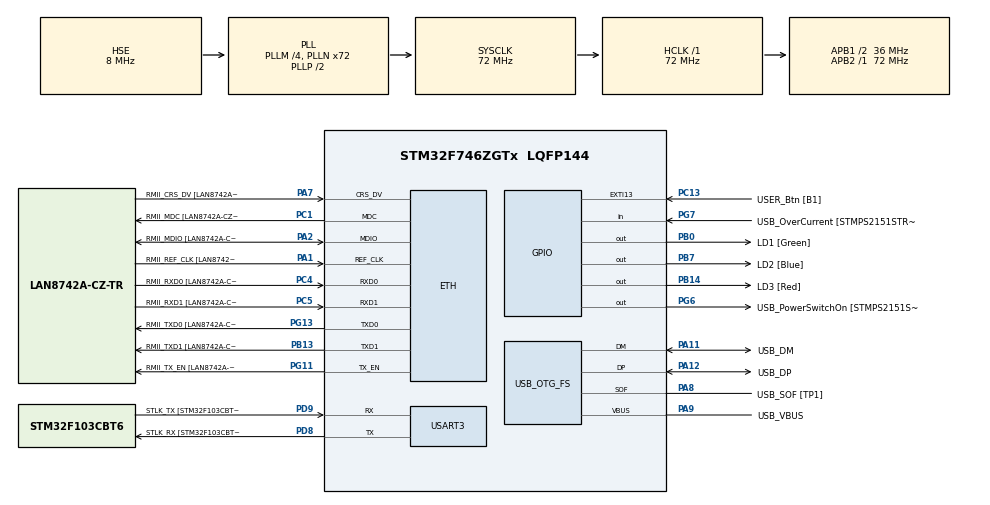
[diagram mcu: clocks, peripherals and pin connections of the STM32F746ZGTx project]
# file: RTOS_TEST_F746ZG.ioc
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ETH.MediaInterface=ETH_MEDIA_INTERFACE_RMII
ETH.PHY_Name=LAN8742A_PHY_ADDRESS
ETH.PHY_Value=0
ETH.PhyAddress=0
FREERTOS.Mutexes01=mutex01,Dynamic,NULL
FREERTOS.Queues01=queue01,1,uint16_t,0,Dynamic,NULL,NULL
FREERTOS.Tasks01=ledblink01,24,1024,StartBlink01,Default,NULL,Dynamic,NULL,NULL;ledblink02,24,1024,StartBlink02,Default,NULL,Dynamic,NULL,NULL;ledblink03,24,1024,StartBlink03,Default,NULL,Dynamic,NULL,NULL
Mcu.Family=STM32F7
Mcu.Name=STM32F746ZGTx
Mcu.Package=LQFP144
NVIC.PriorityGroup=NVIC_PRIORITYGROUP_4
NVIC.TIM6_DAC_IRQn=true\:0\:0\:false\:false\:true\:false\:false\:true
NVIC.TimeBase=TIM6_DAC_IRQn
NVIC.TimeBaseIP=TIM6
PA1.GPIO_Label=RMII_REF_CLK [LAN8742A-CZ-TR_REFCLK0]
PA1.Mode=RMII
PA1.Signal=ETH_REF_CLK
PA10.GPIO_Label=USB_ID
PA10.Signal=USB_OTG_FS_ID
PA11.GPIO_Label=USB_DM
PA11.Mode=Device_Only
PA11.Signal=USB_OTG_FS_DM
PA12.GPIO_Label=USB_DP
PA12.Mode=Device_Only
PA12.Signal=USB_OTG_FS_DP
PA13.GPIO_Label=TMS
PA13.Mode=Serial_Wire
PA13.Signal=SYS_JTMS-SWDIO
PA14.GPIO_Label=TCK
PA14.Mode=Serial_Wire
PA14.Signal=SYS_JTCK-SWCLK
PA2.GPIO_Label=RMII_MDIO [LAN8742A-CZ-TR_MDIO]
PA2.Mode=RMII
PA2.Signal=ETH_MDIO
PA7.GPIO_Label=RMII_CRS_DV [LAN8742A-CZ-TR_CRS_DV]
PA7.Mode=RMII
PA7.Signal=ETH_CRS_DV
PA8.GPIO_Label=USB_SOF [TP1]
PA8.Mode=Activate_SOF_FS
PA8.Signal=USB_OTG_FS_SOF
PA9.GPIO_Label=USB_VBUS
PA9.Mode=Activate_VBUS
PA9.Signal=USB_OTG_FS_VBUS
PB0.GPIO_Label=LD1 [Green]
PB0.Signal=GPIO_Output
PB13.GPIO_Label=RMII_TXD1 [LAN8742A-CZ-TR_TXD1]
PB13.Mode=RMII
PB13.Signal=ETH_TXD1
PB14.GPIO_Label=LD3 [Red]
PB14.Signal=GPIO_Output
PB3.GPIO_Label=SW0
PB3.Signal=SYS_JTDO-SWO
PB7.GPIO_Label=LD2 [Blue]
PB7.Signal=GPIO_Output
PC1.GPIO_Label=RMII_MDC [LAN8742A-CZ-TR_MDC]
PC1.Mode=RMII
PC1.Signal=ETH_MDC
PC13.GPIO_Label=USER_Btn [B1]
PC13.Signal=GPXTI13
PC14/OSC32_IN.Mode=LSE-External-Oscillator
PC14/OSC32_IN.Signal=RCC_OSC32_IN
PC15/OSC32_OUT.Mode=LSE-External-Oscillator
PC15/OSC32_OUT.Signal=RCC_OSC32_OUT
PC4.GPIO_Label=RMII_RXD0 [LAN8742A-CZ-TR_RXD0]
PC4.Mode=RMII
PC4.Signal=ETH_RXD0
PC5.GPIO_Label=RMII_RXD1 [LAN8742A-CZ-TR_RXD1]
PC5.Mode=RMII
PC5.Signal=ETH_RXD1
PD8.GPIO_Label=STLK_RX [STM32F103CBT6_PA3]
PD8.Mode=Asynchronous
PD8.Signal=USART3_TX
PD9.GPIO_Label=STLK_TX [STM32F103CBT6_PA2]
PD9.Mode=Asynchronous
PD9.Signal=USART3_RX
PG11.GPIO_Label=RMII_TX_EN [LAN8742A-CZ-TR_TXEN]
PG11.Mode=RMII
PG11.Signal=ETH_TX_EN
PG13.GPIO_Label=RMII_TXD0 [LAN8742A-CZ-TR_TXD0]
PG13.Mode=RMII
PG13.Signal=ETH_TXD0
PG6.GPIO_Label=USB_PowerSwitchOn [STMPS2151STR_EN]
PG6.Signal=GPIO_Output
PG7.GPIO_Label=USB_OverCurrent [STMPS2151STR_FAULT]
PG7.Signal=GPIO_Input
PH0/OSC_IN.GPIO_Label=MCO [STM32F103CBT6_PA8]
PH0/OSC_IN.Mode=HSE-External-Clock-Source
PH0/OSC_IN.Signal=RCC_OSC_IN
PH1/OSC_OUT.Mode=HSE-External-Clock-Source
PH1/OSC_OUT.Signal=RCC_OSC_OUT
ProjectManager.HeapSize=0x200
ProjectManager.StackSize=0x400
ProjectManager.TargetToolchain=STM32CubeIDE
RCC.48MHZClocksFreq_Value=24000000
RCC.AHBFreq_Value=72000000
RCC.APB1CLKDivider=RCC_HCLK_DIV2
RCC.APB1Freq_Value=36000000
RCC.APB1TimFreq_Value=72000000
RCC.APB2Freq_Value=72000000
RCC.APB2TimFreq_Value=72000000
RCC.CortexFreq_Value=72000000
RCC.HCLKFreq_Value=72000000
RCC.HSE_VALUE=8000000
RCC.HSI_VALUE=16000000
RCC.PLLM=4
RCC.PLLMUL=RCC_PLL_MUL9
RCC.PLLN=72
RCC.PLLQ=3
RCC.PRESCALERUSB=RCC_USBCLKSOURCE_PLL_DIV1_5
RCC.SYSCLKFreq_VALUE=72000000
RCC.SYSCLKSource=RCC_SYSCLKSOURCE_PLLCLK
RCC.SYSCLKSourceVirtual=RCC_SYSCLKSOURCE_PLLCLK
RCC.USBFreq_Value=48000000
RCC.VCOOutputFreq_Value=144000000
USART3.VirtualMode-Asynchronous=VM_ASYNC
USB_OTG_FS.VirtualMode=Device_Only
VP_FREERTOS_VS_CMSIS_V2.Mode=CMSIS_V2
VP_SYS_VS_tim6.Mode=TIM6
board=NUCLEO-F746ZG

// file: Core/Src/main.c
/* USER CODE BEGIN Header */
/**
  ******************************************************************************
  * @file           : main.c
  * @brief          : Main program body
  ******************************************************************************
  * @attention
  *
  * <h2><center>&copy; Copyright (c) 2020 STMicroelectronics.
  * All rights reserved.</center></h2>
  *
  * This software component is licensed by ST under BSD 3-Clause license,
  * the "License"; You may not use this file except in compliance with the
  * License. You may obtain a copy of the License at:
  *                        opensource.org/licenses/BSD-3-Clause
  *
  ******************************************************************************
  */
/* USER CODE END Header */

#include "main.h"
#include "cmsis_os.h"

ETH_HandleTypeDef heth;

UART_HandleTypeDef huart3;

PCD_HandleTypeDef hpcd_USB_OTG_FS;

osThreadId_t ledblink01Handle;
osThreadId_t ledblink02Handle;
osThreadId_t ledblink03Handle;
osMessageQueueId_t queue01Handle;
osMutexId_t mutex01Handle;
/* USER CODE BEGIN PV */
// used to detect and latch errors */
__IO uint32_t HighPriorityThreadCycles = 0, MediumPriorityThreadCycles = 0, LowPriorityThreadCycles = 0;
/* USER CODE END PV */

void SystemClock_Config(void);
static void MX_GPIO_Init(void);
static void MX_ETH_Init(void);
static void MX_USART3_UART_Init(void);
static void MX_USB_OTG_FS_PCD_Init(void);
void StartBlink01(void *argument);
void StartBlink02(void *argument);
void StartBlink03(void *argument);

int main(void)
{

  /* MCU Configuration--------------------------------------------------------*/

  /* Reset of all peripherals, Initializes the Flash interface and the Systick. */
  HAL_Init();

  /* Configure the system clock */
  SystemClock_Config();

  /* Initialize all configured peripherals */
  MX_GPIO_Init();
  MX_ETH_Init();
  MX_USART3_UART_Init();
  MX_USB_OTG_FS_PCD_Init();

  osKernelInitialize();

  /* Create the mutex(es) */
  /* definition and creation of mutex01 */
  const osMutexAttr_t mutex01_attributes = {
    .name = "mutex01"
  };
  mutex01Handle = osMutexNew(&mutex01_attributes);

  /* Create the queue(s) */
  /* definition and creation of queue01 */
  const osMessageQueueAttr_t queue01_attributes = {
    .name = "queue01"
  };
  queue01Handle = osMessageQueueNew (1, sizeof(uint16_t), &queue01_attributes);

  /* Create the thread(s) */
  /* definition and creation of ledblink01 */
  const osThreadAttr_t ledblink01_attributes = {
    .name = "ledblink01",
    .priority = (osPriority_t) osPriorityNormal,
    .stack_size = 1024
  };
  ledblink01Handle = osThreadNew(StartBlink01, NULL, &ledblink01_attributes);

  /* definition and creation of ledblink02 */
  const osThreadAttr_t ledblink02_attributes = {
    .name = "ledblink02",
    .priority = (osPriority_t) osPriorityNormal,
    .stack_size = 1024
  };
  ledblink02Handle = osThreadNew(StartBlink02, NULL, &ledblink02_attributes);

  /* definition and creation of ledblink03 */
  const osThreadAttr_t ledblink03_attributes = {
    .name = "ledblink03",
    .priority = (osPriority_t) osPriorityNormal,
    .stack_size = 1024
  };
  ledblink03Handle = osThreadNew(StartBlink03, NULL, &ledblink03_attributes);

  /* Start scheduler */
  osKernelStart();

  /* We should never get here as control is now taken by the scheduler */

  /* Infinite loop */
  while (1)
  {

  }
}

void SystemClock_Config(void)
{
  RCC_OscInitTypeDef RCC_OscInitStruct = {0};
  RCC_ClkInitTypeDef RCC_ClkInitStruct = {0};
  RCC_PeriphCLKInitTypeDef PeriphClkInitStruct = {0};

  /** Configure LSE Drive Capability
  */
  HAL_PWR_EnableBkUpAccess();
  /** Configure the main internal regulator output voltage
  */
  __HAL_RCC_PWR_CLK_ENABLE();
  __HAL_PWR_VOLTAGESCALING_CONFIG(PWR_REGULATOR_VOLTAGE_SCALE3);
  /** Initializes the CPU, AHB and APB busses clocks
  */
  RCC_OscInitStruct.OscillatorType = RCC_OSCILLATORTYPE_HSE;
  RCC_OscInitStruct.HSEState = RCC_HSE_BYPASS;
  RCC_OscInitStruct.PLL.PLLState = RCC_PLL_ON;
  RCC_OscInitStruct.PLL.PLLSource = RCC_PLLSOURCE_HSE;
  RCC_OscInitStruct.PLL.PLLM = 4;
  RCC_OscInitStruct.PLL.PLLN = 72;
  RCC_OscInitStruct.PLL.PLLP = RCC_PLLP_DIV2;
  RCC_OscInitStruct.PLL.PLLQ = 3;
  if (HAL_RCC_OscConfig(&RCC_OscInitStruct) != HAL_OK)
  {
    Error_Handler();
  }
  /** Initializes the CPU, AHB and APB busses clocks
  */
  RCC_ClkInitStruct.ClockType = RCC_CLOCKTYPE_HCLK|RCC_CLOCKTYPE_SYSCLK
                              |RCC_CLOCKTYPE_PCLK1|RCC_CLOCKTYPE_PCLK2;
  RCC_ClkInitStruct.SYSCLKSource = RCC_SYSCLKSOURCE_PLLCLK;
  RCC_ClkInitStruct.AHBCLKDivider = RCC_SYSCLK_DIV1;
  RCC_ClkInitStruct.APB1CLKDivider = RCC_HCLK_DIV2;
  RCC_ClkInitStruct.APB2CLKDivider = RCC_HCLK_DIV1;

  if (HAL_RCC_ClockConfig(&RCC_ClkInitStruct, FLASH_LATENCY_2) != HAL_OK)
  {
    Error_Handler();
  }
  PeriphClkInitStruct.PeriphClockSelection = RCC_PERIPHCLK_USART3|RCC_PERIPHCLK_CLK48;
  PeriphClkInitStruct.Usart3ClockSelection = RCC_USART3CLKSOURCE_PCLK1;
  PeriphClkInitStruct.Clk48ClockSelection = RCC_CLK48SOURCE_PLL;
  if (HAL_RCCEx_PeriphCLKConfig(&PeriphClkInitStruct) != HAL_OK)
  {
    Error_Handler();
  }
}

static void MX_ETH_Init(void)
{

  heth.Instance = ETH;
  heth.Init.AutoNegotiation = ETH_AUTONEGOTIATION_ENABLE;
  heth.Init.PhyAddress = LAN8742A_PHY_ADDRESS;
  heth.Init.MACAddr[0] =   0x00;
  heth.Init.MACAddr[1] =   0x80;
  heth.Init.MACAddr[2] =   0xE1;
  heth.Init.MACAddr[3] =   0x00;
  heth.Init.MACAddr[4] =   0x00;
  heth.Init.MACAddr[5] =   0x00;
  heth.Init.RxMode = ETH_RXPOLLING_MODE;
  heth.Init.ChecksumMode = ETH_CHECKSUM_BY_HARDWARE;
  heth.Init.MediaInterface = ETH_MEDIA_INTERFACE_RMII;

  if (HAL_ETH_Init(&heth) != HAL_OK)
  {
    Error_Handler();
  }

}

static void MX_USART3_UART_Init(void)
{

  huart3.Instance = USART3;
  huart3.Init.BaudRate = 115200;
  huart3.Init.WordLength = UART_WORDLENGTH_8B;
  huart3.Init.StopBits = UART_STOPBITS_1;
  huart3.Init.Parity = UART_PARITY_NONE;
  huart3.Init.Mode = UART_MODE_TX_RX;
  huart3.Init.HwFlowCtl = UART_HWCONTROL_NONE;
  huart3.Init.OverSampling = UART_OVERSAMPLING_16;
  huart3.Init.OneBitSampling = UART_ONE_BIT_SAMPLE_DISABLE;
  huart3.AdvancedInit.AdvFeatureInit = UART_ADVFEATURE_NO_INIT;
  if (HAL_UART_Init(&huart3) != HAL_OK)
  {
    Error_Handler();
  }

}

static void MX_USB_OTG_FS_PCD_Init(void)
{

  hpcd_USB_OTG_FS.Instance = USB_OTG_FS;
  hpcd_USB_OTG_FS.Init.dev_endpoints = 6;
  hpcd_USB_OTG_FS.Init.speed = PCD_SPEED_FULL;
  hpcd_USB_OTG_FS.Init.dma_enable = DISABLE;
  hpcd_USB_OTG_FS.Init.phy_itface = PCD_PHY_EMBEDDED;
  hpcd_USB_OTG_FS.Init.Sof_enable = ENABLE;
  hpcd_USB_OTG_FS.Init.low_power_enable = DISABLE;
  hpcd_USB_OTG_FS.Init.lpm_enable = DISABLE;
  hpcd_USB_OTG_FS.Init.vbus_sensing_enable = ENABLE;
  hpcd_USB_OTG_FS.Init.use_dedicated_ep1 = DISABLE;
  if (HAL_PCD_Init(&hpcd_USB_OTG_FS) != HAL_OK)
  {
    Error_Handler();
  }

}

static void MX_GPIO_Init(void)
{
  GPIO_InitTypeDef GPIO_InitStruct = {0};

  /* GPIO Ports Clock Enable */
  __HAL_RCC_GPIOC_CLK_ENABLE();
  __HAL_RCC_GPIOH_CLK_ENABLE();
  __HAL_RCC_GPIOA_CLK_ENABLE();
  __HAL_RCC_GPIOB_CLK_ENABLE();
  __HAL_RCC_GPIOD_CLK_ENABLE();
  __HAL_RCC_GPIOG_CLK_ENABLE();

  /*Configure GPIO pin Output Level */
  HAL_GPIO_WritePin(GPIOB, LD1_Pin|LD3_Pin|LD2_Pin, GPIO_PIN_RESET);

  /*Configure GPIO pin Output Level */
  HAL_GPIO_WritePin(USB_PowerSwitchOn_GPIO_Port, USB_PowerSwitchOn_Pin, GPIO_PIN_RESET);

  /*Configure GPIO pin : USER_Btn_Pin */
  GPIO_InitStruct.Pin = USER_Btn_Pin;
  GPIO_InitStruct.Mode = GPIO_MODE_IT_RISING;
  GPIO_InitStruct.Pull = GPIO_NOPULL;
  HAL_GPIO_Init(USER_Btn_GPIO_Port, &GPIO_InitStruct);

  /*Configure GPIO pins : LD1_Pin LD3_Pin LD2_Pin */
  GPIO_InitStruct.Pin = LD1_Pin|LD3_Pin|LD2_Pin;
  GPIO_InitStruct.Mode = GPIO_MODE_OUTPUT_PP;
  GPIO_InitStruct.Pull = GPIO_NOPULL;
  GPIO_InitStruct.Speed = GPIO_SPEED_FREQ_LOW;
  HAL_GPIO_Init(GPIOB, &GPIO_InitStruct);

  /*Configure GPIO pin : USB_PowerSwitchOn_Pin */
  GPIO_InitStruct.Pin = USB_PowerSwitchOn_Pin;
  GPIO_InitStruct.Mode = GPIO_MODE_OUTPUT_PP;
  GPIO_InitStruct.Pull = GPIO_NOPULL;
  GPIO_InitStruct.Speed = GPIO_SPEED_FREQ_LOW;
  HAL_GPIO_Init(USB_PowerSwitchOn_GPIO_Port, &GPIO_InitStruct);

  /*Configure GPIO pin : USB_OverCurrent_Pin */
  GPIO_InitStruct.Pin = USB_OverCurrent_Pin;
  GPIO_InitStruct.Mode = GPIO_MODE_INPUT;
  GPIO_InitStruct.Pull = GPIO_NOPULL;
  HAL_GPIO_Init(USB_OverCurrent_GPIO_Port, &GPIO_InitStruct);

}

void StartBlink01(void *argument)
{
  /* USER CODE BEGIN 5 */
  uint16_t msg = QUEUED_VALUE;
  /* Infinite loop */
  for(;;)
  {
    osDelay(500);
    osMessageQueuePut(queue01Handle, &msg, 0, 0);
  }
  /* USER CODE END 5 */
}

void StartBlink02(void *argument)
{
  /* USER CODE BEGIN StartBlink02 */
  uint16_t msg;
  osStatus_t qstate;
  /* Infinite loop */
  for(;;)
  {
	  qstate = osMessageQueueGet(queue01Handle, &msg, 0, osWaitForever);

	  /* To get here something must have arrived, but is it the expected
	   * value?  If it is, turn the LED on for a short while. */
	  if (qstate == osOK)
	  {
		  if (msg == QUEUED_VALUE)
		  {
			  HAL_GPIO_WritePin(GPIOB, LD1_Pin, GPIO_PIN_SET);
			  HAL_GPIO_WritePin(GPIOB, LD2_Pin, GPIO_PIN_SET);
			  HAL_GPIO_WritePin(GPIOB, LD3_Pin, GPIO_PIN_SET);
			  osDelay(20);
			  HAL_GPIO_WritePin(GPIOB, LD1_Pin, GPIO_PIN_RESET);
			  HAL_GPIO_WritePin(GPIOB, LD2_Pin, GPIO_PIN_RESET);
			  HAL_GPIO_WritePin(GPIOB, LD3_Pin, GPIO_PIN_RESET);

		  }
	  }
  }
  /* USER CODE END StartBlink02 */
}

void StartBlink03(void *argument)
{
  /* USER CODE BEGIN StartBlink03 */
	(void) argument;
  /* Infinite loop */
  for(;;)
  {
	  /* Keep attempting to obtain the mutex.  We should only obtain it when
	   * the medium-priority thread has suspended itself, which in turn should only
	   * happen when the high-priority thread is also suspended */
	  if (osMutexAcquire(mutex01Handle, 0) == osOK)
	  {
		  /* Is the haigh and medium-priority threads suspended? */
		  if ((osThreadGetState(ledblink01Handle) != osThreadBlocked) || (osThreadGetState(ledblink02Handle) != osThreadBlocked))
		  {
			  HAL_GPIO_TogglePin(GPIOB, LD3_Pin);
		  }
		  else
		  {
			  /* Keep count of the number of cycles this task has performed
			   * so a stall can be detected */
			  LowPriorityThreadCycles++;
			  /* We can resume the other tasks here even though they have a
			   * higher priority than the this thread. When they execute they
			   * will attempt to obtain the mutex but fail because the low-priority
			   * thread is still the mutex holder.  this thread will then inherit
			   * the higher priority.  The medium-priority thread will block indefinitely
			   * when it attempts to obtain the mutex, the high-priority thread will only
			   * block for a fixed period and an error will be latched if the
			   * high-priority thread has not returned the mutex by the time this
			   * fixed period has expired */
		      osThreadResume(ledblink02Handle);
		      osThreadResume(ledblink01Handle);

		      /* The other two tasks should now have executed and no longer
		       * be suspended */
			  if ((osThreadGetState(ledblink01Handle) != osThreadBlocked) || (osThreadGetState(ledblink02Handle) != osThreadBlocked))
			  {
				  HAL_GPIO_TogglePin(GPIOB, LD3_Pin);
			  }

			  /* Release the mutex, disinheriting the higher priority again */
			  if (osMutexRelease(mutex01Handle) != osOK)
			  {
				  /* Toggle LED3 to indicate error */
				  HAL_GPIO_TogglePin(GPIOB, LD3_Pin);
			  }
		  }
	  }
  }
  /* USER CODE END StartBlink03 */
}

void HAL_TIM_PeriodElapsedCallback(TIM_HandleTypeDef *htim)
{
  if (htim->Instance == TIM6) {
    HAL_IncTick();
  }
}

void Error_Handler(void)
{
}

/************************ (C) COPYRIGHT STMicroelectronics *****END OF FILE****/
